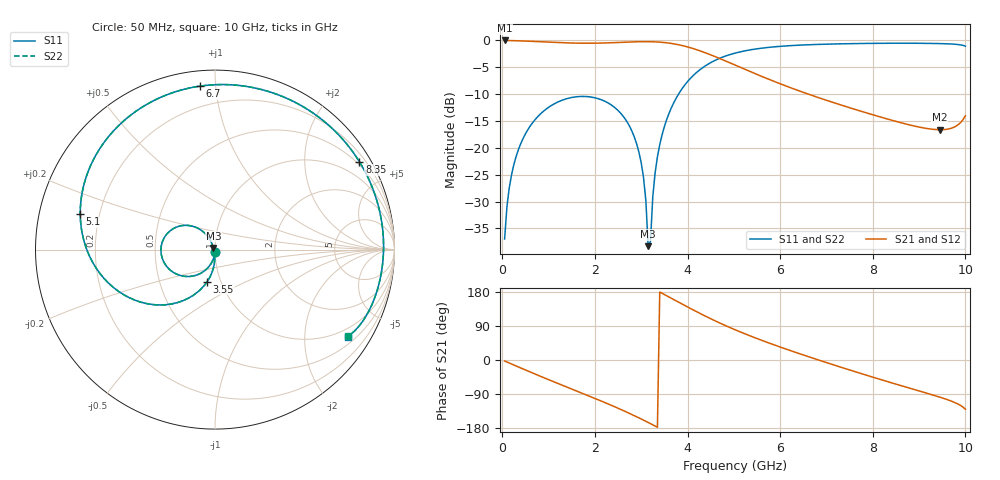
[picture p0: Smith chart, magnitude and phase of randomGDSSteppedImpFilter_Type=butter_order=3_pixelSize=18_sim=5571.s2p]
! freq	dB(S11)	phase(S11)	dB(S12)	phase(S12)
!  dB(S21)	phase(S21)	dB(S22)	phase(S22)
!S-par simulation data
#  GHz  S  DB  R 50
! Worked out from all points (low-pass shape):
!   200 points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, 50 MHz to 10 GHz, reference 50 ohm
!   highest |S21| = 0.00 dB at 50 MHz (marker M1); lowest = -16.6 dB at 9.45 GHz (marker M2)
!   |S21| within 3 dB of the highest: start of sweep to 4.593 GHz
!   lowest |S11| = -38.3 dB at 3.15 GHz (marker M3), VSWR 1.02, Z = 49.1 + j0.832 ohm
!   |S11| at or under -10 dB: start of sweep to 3.806 GHz
!   |S22| runs from -38.5 to -0.5 dB; largest |S21 - S12| = 0
!   S11 on the Smith chart (normalised r, x): 50 MHz: 1.00, -0.03; 3.55 GHz: 0.86, -0.32; 5.1 GHz: 0.13, +0.13; 6.7 GHz: 0.08, +0.91; 8.35 GHz: 0.41, +3.53; 10 GHz: 0.72, -3.20
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0.05  -36.99 -92.5  -0.00 -2.7  -0.00 -2.7  -36.99 -92.6
0.2  -25.01 -100.9  -0.03 -10.6  -0.03 -10.6  -25.01 -100.9
0.5  -17.40 -116.9  -0.12 -26.3  -0.12 -26.3  -17.40 -116.9
1.15  -11.68 -149.9  -0.38 -59.4  -0.38 -59.4  -11.68 -149.9
1.75  -10.42 -179.5  -0.52 -89.0  -0.52 -89.0  -10.42 -179.5
2.8  -16.91 127.2  -0.28 -144.0  -0.28 -144.0  -16.91 127.0
3.05  -25.57 116.9  -0.23 -158.7  -0.23 -158.7  -25.57 116.4
3.1  -29.81 118.2  -0.23 -161.8  -0.23 -161.8  -29.83 117.4
3.15  -38.32 135.7  -0.23 -164.8  -0.23 -164.8  -38.48 133.7
3.2  -37.40 -108.5  -0.24 -168.0  -0.24 -168.0  -37.56 -106.8
3.25  -29.06 -92.9  -0.25 -171.1  -0.25 -171.1  -29.08 -92.1
3.4  -19.41 -95.4  -0.31 179.3  -0.31 179.3  -19.41 -95.1
3.55  -14.74 -103.7  -0.44 169.6  -0.44 169.6  -14.74 -103.6
4.25  -5.57 -147.6  -1.88 124.1  -1.88 124.1  -5.57 -147.5
5.05  -2.31 167.8  -4.68 78.6  -4.68 78.6  -2.31 167.8
5.1  -2.20 165.3  -4.86 76.1  -4.86 76.1  -2.20 165.3
5.95  -1.13 126.2  -7.90 36.4  -7.90 36.4  -1.13 126.2
6.7  -0.77 95.2  -10.27 5.1  -10.27 5.1  -0.77 95.2
7.5  -0.60 63.7  -12.53 -26.3  -12.53 -26.3  -0.60 63.7
8.35  -0.52 31.3  -14.72 -58.2  -14.72 -58.2  -0.52 31.3
9.45  -0.59 -9.7  -16.63 -98.1  -16.63 -98.1  -0.59 -9.6
10  -1.07 -33.2  -14.04 -129.9  -14.04 -129.9  -1.05 -33.0
